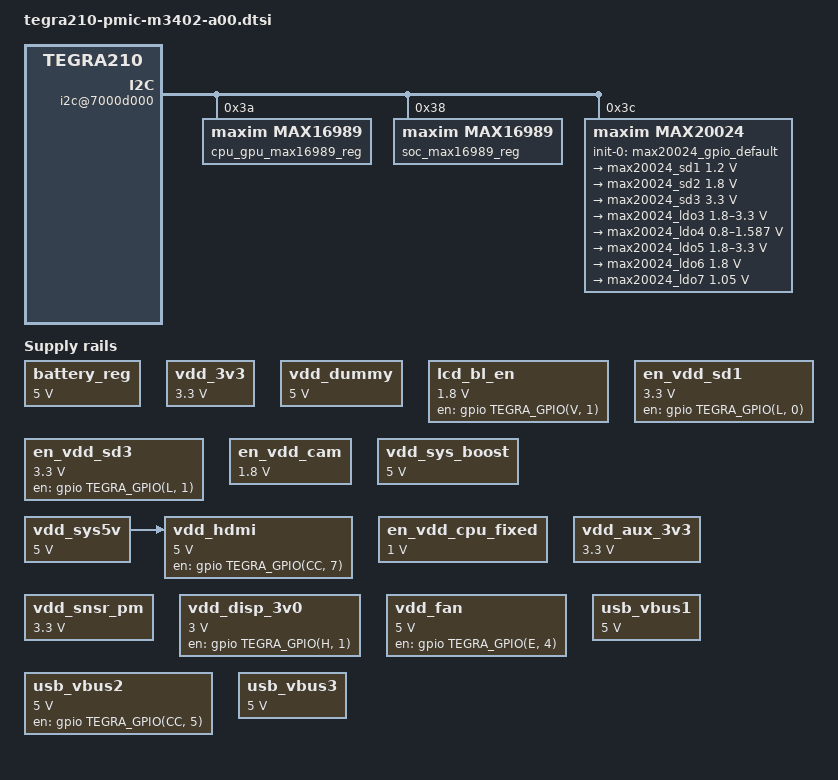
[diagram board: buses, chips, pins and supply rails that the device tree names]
/*
 * Copyright (c) 2016, NVIDIA CORPORATION.  All rights reserved.
 *
 * This program is free software; you can redistribute it and/or modify
 * it under the terms of the GNU General Public License as published by
 * the Free Software Foundation; either version 2 of the License, or
 * (at your option) any later version.
 *
 * This program is distributed in the hope that it will be useful, but WITHOUT
 * ANY WARRANTY; without even the implied warranty of MERCHANTABILITY or
 * FITNESS FOR A PARTICULAR PURPOSE.  See the GNU General Public License for
 * more details.
 *
 */

#include <dt-bindings/regulator/regulator.h>
#include <dt-bindings/mfd/max77620.h>
#include <dt-bindings/gpio/tegra-gpio.h>


/ {

	i2c@7000d000 {
		nvidia,bit-banging-xfer-after-shutdown;

		cpu_gpu_max16989_reg: max16989@3a {
			compatible = "maxim,max16989";
			reg = <0x3a>;
			interrupts = <0 86 IRQ_TYPE_NONE>;
			status = "okay";
			regulator-name = "vdd-cpu-gpu";
			regulator-init-microvolt = <1100000>;
			regulator-min-microvolt = <625000>;
			regulator-max-microvolt = <1587500>;
			regulator-voltage-steps = <12500>;
			regulator-n-voltages = <78>;
			regulator-boot-on;
			regulator-always-on;
			#thermal-sensor-cells = <0>;
			maxim,externally-enable;
			maxim,sleep-on-dvs;
			maxim,dvs-default-state = <1>;
		};

		soc_max16989_reg: max16989@38 {
			compatible = "maxim,max16989";
			reg = <0x38>;
			interrupts = <0 86 IRQ_TYPE_NONE>;
			status = "okay";
			regulator-name = "vdd-soc";
			regulator-init-microvolt = <1100000>;
			regulator-min-microvolt = <1000000>;
			regulator-max-microvolt = <1200000>;
			regulator-boot-on;
			regulator-always-on;
			#thermal-sensor-cells = <0>;
			maxim,externally-enable;
			maxim,dvs-default-state = <1>;
		};

		max20024: max20024@3c {
			compatible = "maxim,max20024";
			reg = <0x3c>;
			interrupts = <0 86 IRQ_TYPE_NONE>;

			#interrupt-cells = <2>;
			interrupt-controller;

			gpio-controller;
			#gpio-cells = <2>;

			maxim,enable-clock32k-out;

			maxim,system-pmic-power-off;

			#thermal-sensor-cells = <0>;

			pinctrl-names = "default";
			pinctrl-0 = <&max20024_default>;

			gpio-init-names = "default";
			gpio-init-0 = <&max20024_gpio_default>;

			max20024_default: pinmux@0 {
				pin_gpio0 {
					pins = "gpio0";
					function = "gpio";
					drive-open-drain = <1>;
				};

				pin_gpio1 {
					pins = "gpio1";
					function = "fps-out";
					drive-open-drain = <1>;
				};

				pin_gpio2 {
					pins = "gpio2";
					function = "fps-out";
					drive-open-drain = <1>;
				};

				pin_gpio3 {
					pins = "gpio3";
					function = "fps-out";
					drive-open-drain = <1>;
					maxim,active-fps-source = <MAX77620_FPS_SRC_1>;
				};

				pin_gpio4 {
					pins = "gpio4";
					drive-push-pull = <1>;
					function = "32k-out1";
				};

				pin_gpio5_6_7 {
					pins = "gpio5", "gpio6","gpio7";
					function = "gpio";
					drive-open-drain = <1>;
				};
			};

			max20024_gpio_default:gpio_default {
				gpio-output-high = <3>;
			};

			watchdog {
				status = "disabled";
			};

			fps {
				#address-cells = <1>;
				#size-cells = <0>;
				fps0 {
					reg = <0>;
			/* FIXME: The maximum timer period is 5120us for 77620,
			* is 2560us for 20024.
			* As we are using compatible driver, set timer period
			* to 1280 to enable timer period 640 for 20024.
			*/
					maxim,shutdown-fps-time-period-us = <1280>;
					maxim,fps-event-source = <MAX77620_FPS_EVENT_SRC_EN0>;
				};

				fps1 {
					reg = <1>;
					maxim,shutdown-fps-time-period-us = <1280>;
					maxim,fps-event-source = <MAX77620_FPS_EVENT_SRC_EN1>;
					maxim,device-state-on-disabled-event = <MAX77620_FPS_INACTIVE_STATE_SLEEP>;
				};

				fps2 {
					reg = <2>;
					maxim,shutdown-fps-time-period-us = <1280>;
					maxim,fps-event-source = <MAX77620_FPS_EVENT_SRC_SW>;
				};
			};

			backup-battery {
				status = "okay";
			};

			regulators {
				in-ldo7-8-supply = <&max20024_sd1>;

				max20024_sd1: sd1 { /* FIXME */
					regulator-name = "vdd-1v2";
					regulator-min-microvolt = <1200000>;
					regulator-max-microvolt = <1200000>;
					regulator-always-on;
					regulator-boot-on;
					maxim,active-fps-source = <MAX77620_FPS_SRC_DEF>;
					regulator-enable-ramp-delay = <130>;
					regulator-disable-ramp-delay = <145800>;
				};

				max20024_sd2: sd2 {
					regulator-name = "vdd-1v8";
					regulator-min-microvolt = <1800000>;
					regulator-max-microvolt = <1800000>;
					regulator-always-on;
					regulator-boot-on;
					maxim,active-fps-source = <MAX77620_FPS_SRC_DEF>;
					regulator-enable-ramp-delay = <176>;
					regulator-disable-ramp-delay = <32000>;
				};

				max20024_sd3: sd3 {
					regulator-name = "vdd-3v3-pmic";
					regulator-min-microvolt = <3300000>;
					regulator-max-microvolt = <3300000>;
					regulator-always-on;
					regulator-boot-on;
					maxim,active-fps-source = <MAX77620_FPS_SRC_DEF>;
					regulator-enable-ramp-delay = <242>;
					regulator-disable-ramp-delay = <118000>;
				};

				max20024_ldo3: ldo3 {
					regulator-name = "vdd-sdmmc1";
					regulator-min-microvolt = <1800000>;
					regulator-max-microvolt = <3300000>;
					maxim,active-fps-source = <MAX77620_FPS_SRC_DEF>;
					regulator-enable-ramp-delay = <50>;
					regulator-disable-ramp-delay = <1110>;
				};

				max20024_ldo4: ldo4 {
					regulator-name = "vdd-rtc";
					regulator-min-microvolt = <800000>;
					regulator-max-microvolt = <1587500>;
					regulator-init-microvolt = <875000>;
					maxim,active-fps-source = <MAX77620_FPS_SRC_DEF>;
					regulator-enable-ramp-delay = <50>;
					regulator-disable-ramp-delay = <1110>;
				};

				max20024_ldo5: ldo5 {
					regulator-name = "vdd-sdmmc3";
					regulator-min-microvolt = <1800000>;
					regulator-max-microvolt = <3300000>;
					maxim,active-fps-source = <MAX77620_FPS_SRC_DEF>;
					regulator-enable-ramp-delay = <50>;
					regulator-disable-ramp-delay = <1110>;
				};

				max20024_ldo6: ldo6 {
					regulator-name = "1v8-ao";
					regulator-min-microvolt = <1800000>;
					regulator-max-microvolt = <1800000>;
					regulator-always-on;
					regulator-boot-on;
					maxim,active-fps-source = <MAX77620_FPS_SRC_DEF>;
					regulator-enable-ramp-delay = <36>;
					regulator-disable-ramp-delay = <674>;
				};

				max20024_ldo7: ldo7 {
					regulator-name = "vdd-1v05";
					regulator-min-microvolt = <1050000>;
					regulator-max-microvolt = <1050000>;
					regulator-always-on;
					regulator-boot-on;
					maxim,active-fps-source = <MAX77620_FPS_SRC_DEF>;
					regulator-enable-ramp-delay = <24>;
					regulator-disable-ramp-delay = <2768>;
				};
			};
		};
	};

	i2c@546c0000 {
		bq2419x: battery-charger@6b {
			status = "disabled";
			battery_charger: charger {
				status = "disabled";
			};
		};

		battery-gauge@55 {
			status = "disabled";
		};
	};

	regulators {
		compatible = "simple-bus";
		device_type = "fixed-regulators";
		#address-cells = <1>;
		#size-cells = <0>;

		battery_reg: regulator@0 {
			compatible = "regulator-fixed";
			reg = <0>;
			regulator-name = "vdd-ac-bat";
			regulator-min-microvolt = <5000000>;
			regulator-max-microvolt = <5000000>;
			regulator-always-on;
		};

		vdd_3v3: regulator@1 {
			compatible = "regulator-fixed-sync";
			reg = <1>;
			regulator-name = "vdd-3v3";
			regulator-min-microvolt = <3300000>;
			regulator-max-microvolt = <3300000>;
			regulator-always-on;
			regulator-enable-ramp-delay = <160>;
			regulator-disable-ramp-delay = <10000>;
			consumers {
			c1 {
				regulator-consumer-supply = "avdd_usb";
				regulator-consumer-device = "tegra-ehci.0";
			};
			c2 {
				regulator-consumer-supply = "avdd_usb";
				regulator-consumer-device = "tegra-ehci.1";
			};
			c3 {
				regulator-consumer-supply = "avdd_usb";
				regulator-consumer-device = "tegra-ehci.2";
			};
			c5 {
				regulator-consumer-supply = "vdd";
				regulator-consumer-device = "1-004d";
			};
			};
		};

		vdd_dummy: regulator@2 {
			compatible = "regulator-fixed";
			reg = <2>;
			regulator-name = "vdd_dummy";
			regulator-min-microvolt = <5000000>;
			regulator-max-microvolt = <5000000>;
			regulator-always-on;
		};

		lcd_bl_en: regulator@3 {
			compatible = "regulator-fixed-sync";
			reg = <3>;
			regulator-name = "lcd-bl-en";
			regulator-min-microvolt = <1800000>;
			regulator-max-microvolt = <1800000>;
			regulator-boot-on;
			gpio = <&gpio TEGRA_GPIO(V, 1) 0>;
			enable-active-high;
		};

		en_vdd_sd1: regulator@4 {
			compatible = "regulator-fixed-sync";
			reg = <4>;
			regulator-name = "en-vdd-sd1";
			regulator-min-microvolt = <3300000>;
			regulator-max-microvolt = <3300000>;
			gpio = <&gpio TEGRA_GPIO(L, 0) 0>;
			enable-active-high;
		};

		en_vdd_sd3: regulator@401 {
			compatible = "regulator-fixed-sync";
			reg = <401>;
			regulator-name = "en-vdd-sd3";
			regulator-min-microvolt = <3300000>;
			regulator-max-microvolt = <3300000>;
			gpio = <&gpio TEGRA_GPIO(L, 1) 0>;
			enable-active-high;
		};


		en_vdd_cam: regulator@5 {
			compatible = "regulator-fixed-sync";
			reg = <5>;
			regulator-name = "en-vdd-cam";
			regulator-min-microvolt = <1800000>;
			regulator-max-microvolt = <1800000>;
			// gpio = <&gpio TEGRA_GPIO(S, 4) 0>;
			enable-active-high;
		};

		vdd_sys_boost: regulator@6 {
			compatible = "regulator-fixed-sync";
			reg = <6>;
			regulator-name = "vdd-sys-boost";
			regulator-min-microvolt = <5000000>;
			regulator-max-microvolt = <5000000>;
			regulator-always-on;
			regulator-enable-ramp-delay = <3090>;
		};

		vdd_sys5v: regulator@601 {
			compatible = "regulator-fixed-sync";
			reg = <601>;
			regulator-name = "vdd-sys5v";
			regulator-min-microvolt = <5000000>;
			regulator-max-microvolt = <5000000>;
			regulator-always-on;
			enable-active-high;
			regulator-enable-ramp-delay = <3090>;
		};

		vdd_hdmi: regulator@7 {
			compatible = "regulator-fixed-sync";
			reg = <7>;
			regulator-name = "vdd-hdmi";
			regulator-min-microvolt = <5000000>;
			regulator-max-microvolt = <5000000>;
			gpio = <&gpio TEGRA_GPIO(CC, 7) 0>;
			enable-active-high;
			vin-supply = <&vdd_sys5v>;
			regulator-enable-ramp-delay = <468>;
			regulator-disable-ramp-delay = <13000>;
		};

		en_vdd_cpu_fixed: regulator@8 {
			compatible = "regulator-fixed";
			reg = <8>;
			regulator-name = "vdd-cpu-fixed";
			regulator-min-microvolt = <1000000>;
			regulator-max-microvolt = <1000000>;
		};

		vdd_aux_3v3: regulator@9 {
			compatible = "regulator-fixed-sync";
			reg = <9>;
			regulator-name = "aux-3v3";
			regulator-min-microvolt = <3300000>;
			regulator-max-microvolt = <3300000>;
		};

		vdd_snsr_pm: regulator@10 {
			compatible = "regulator-fixed-sync";
			reg = <10>;
			regulator-name = "snsr_pm";
			enable-active-high;
			regulator-min-microvolt = <3300000>;
			regulator-max-microvolt = <3300000>;
		};

		vdd_usb_5v0: regulator@11 {
			compatible = "regulator-fixed-sync";
			reg = <11>;
			status = "disabled";
			regulator-name = "vdd-usb-5v0";
			regulator-min-microvolt = <5000000>;
			regulator-max-microvolt = <5000000>;
			vin-supply = <&vdd_3v3>;
			regulator-always-on;
			enable-active-high;
			consumers {
			c0 {
				regulator-consumer-supply = "usb_vbus";
				regulator-consumer-device = "tegra-ehci.1";
			};
			c1 {
				regulator-consumer-supply = "usb_vbus";
				regulator-consumer-device = "tegra-ehci.2";
			};
			};
		};

		vdd_cdc_1v2_aud: regulator@101 {
			compatible = "regulator-fixed-sync";
			reg = <101>;
			status = "disabled";
			regulator-name = "vdd_cdc_1v2_aud";
			regulator-min-microvolt = <1200000>;
			regulator-max-microvolt = <1200000>;
			enable-active-high;
			startup-delay-us = <250000>;
		};

		vdd_disp_3v0: regulator@12 {
			compatible = "regulator-fixed-sync";
			reg = <12>;
			regulator-name = "vdd-disp-3v0";
			regulator-min-microvolt = <3000000>;
			regulator-max-microvolt = <3000000>;
			gpio = <&gpio TEGRA_GPIO(H, 1) 0>;
			regulator-always-on;
			enable-active-high;
			regulator-enable-ramp-delay = <232>;
		};

		vdd_fan: regulator@13 {
			compatible = "regulator-fixed-sync";
			reg = <13>;
			regulator-name = "vdd-fan";
			regulator-min-microvolt = <5000000>;
			regulator-max-microvolt = <5000000>;
			gpio = <&gpio TEGRA_GPIO(E, 4) 0>;
			regulator-always-on;
			enable-active-high;
			regulator-enable-ramp-delay = <284>;
			regulator-disable-ramp-delay = <6200>;
		};

		usb_vbus1: regulator@14 {
			compatible = "regulator-fixed-sync";
			reg = <14>;
			regulator-name = "usb-vbus1";
			regulator-min-microvolt = <5000000>;
			regulator-max-microvolt = <5000000>;
			enable-active-high;
		};

		usb_vbus2: regulator@15 {
			compatible = "regulator-fixed-sync";
			reg = <15>;
			regulator-name = "usb-vbus2";
			regulator-min-microvolt = <5000000>;
			regulator-max-microvolt = <5000000>;
			gpio = <&gpio TEGRA_GPIO(CC, 5) 1>;
			enable-active-high;
			gpio-open-drain;
		};

		usb_vbus3: regulator@16 {
			compatible = "regulator-fixed-sync";
			reg = <16>;
			regulator-name = "usb-vbus3";
			regulator-min-microvolt = <5000000>;
			regulator-max-microvolt = <5000000>;
			enable-active-high;
		};
	};
};
